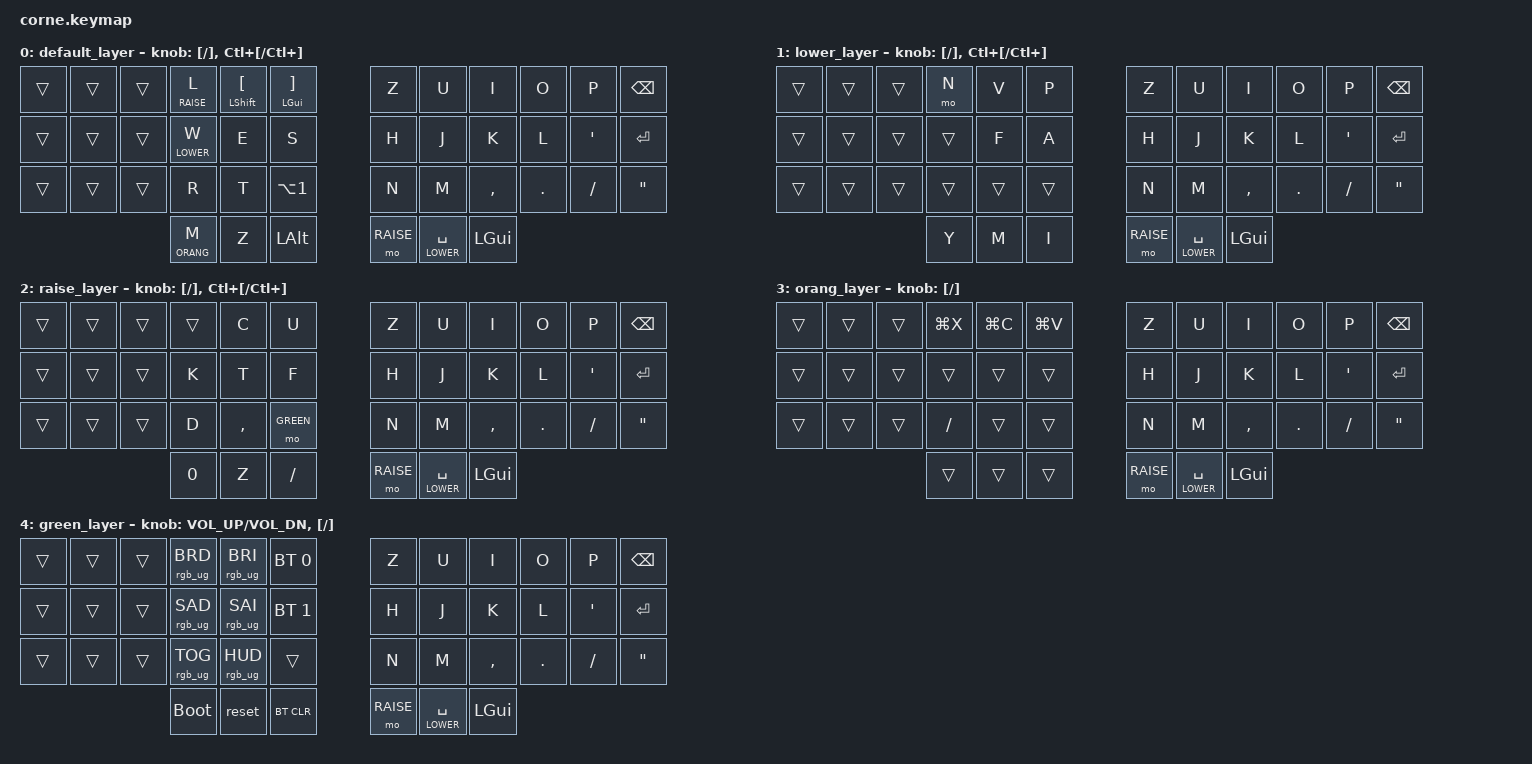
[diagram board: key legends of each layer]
#include <behaviors.dtsi>
#include <dt-bindings/zmk/keys.h>
#include <dt-bindings/zmk/bt.h>
#include <dt-bindings/zmk/rgb.h>
#include <dt-bindings/zmk/ext_power.h>


#define DEFAULT 0
#define LOWER   1
#define RAISE   2
#define ORANG   3
#define GREEN   4

&left_encoder { resolution = <2>; };
&left1_encoder { resolution = <4>; };
// &right_encoder { resolution = <1>; };

&mt {
    tapping-term-ms = <135>;
};

&lt {
    tapping-term-ms = <135>;
};


/ {
        keymap {
                compatible = "zmk,keymap";

                default_layer {
// -----------------------------------------------------------------------------------------
// |  TAB |  Q  |  W  |  E  |  R  |  T  |   |  Y  |  U   |  I  |  O  |  P  | BKSP |
// | CTRL |  A  |  S  |  D  |  F  |  G  |   |  H  |  J   |  K  |  L  |  ;  |  '   |
// | SHFT |  Z  |  X  |  C  |  V  |  B  |   |  N  |  M   |  ,  |  .  |  /  | SHFT |
//                    | GUI | LWR | SPC |   | ENT | RSE  | ALT |
                        bindings = <
   &trans &trans &trans       &lt RAISE L &mt LSHIFT LBKT &mt LGUI RBKT                           &kp Z &kp U  &kp I    &kp O   &kp P    &kp BKSP
   &trans &trans &trans       &lt LOWER W &kp E    &kp S                                          &kp H &kp J  &kp K    &kp L   &kp APOS &kp RET
   &trans &trans &trans       &kp R       &kp T    &kp LA(N1)                                     &kp N &kp M  &kp CMMA &kp DOT &kp FSLH &kp DQT
                                &lt ORANG M &kp Z &kp LALT                                     &mo RAISE &lt LOWER SPACE &kp LGUI
                        >;
                        sensor-bindings = <&inc_dec_kp LBKT RBKT &inc_dec_kp LC(LBKT) LC(RBKT)>;
                };
                lower_layer {
// -----------------------------------------------------------------------------------------
// |  ESC |  1  |  2  |  3  |  4  |  5  |   |  6  |  7  |  8  |  9  |  0  | BKSP |
// | BTCLR| BT1 | BT2 | BT3 | BT4 | BT5 |   | LFT | DWN |  UP | RGT |     |      |
// | SHFT |     |     |     |     |     |   |     |     |     |     |     |      |
//                    | GUI |     | SPC |   | ENT |     | ALT |
                        bindings = <
   &trans &trans &trans     &mo N  &kp V  &kp P                  &kp Z &kp U  &kp I    &kp O   &kp P    &kp BKSP
   &trans &trans &trans     &trans  &kp F  &kp A                 &kp H &kp J  &kp K    &kp L   &kp APOS &kp RET
   &trans &trans &trans     &trans &trans &trans                            &kp N &kp M  &kp CMMA &kp DOT &kp FSLH &kp DQT
                            &kp Y &kp M &kp I                       &mo RAISE &lt LOWER SPACE &kp LGUI
                        >;
                        sensor-bindings = <&inc_dec_kp LBKT RBKT &inc_dec_kp LC(LBKT) LC(RBKT)>;
                };
                raise_layer {
// -----------------------------------------------------------------------------------------
// |  ESC |  !  |  @  |  #  |  $  |  %  |   |  ^  |  &  |  *  |  (  |  )  | BKSP |
// | CTRL |     |     |     |     |     |   |  -  |  =  |  {  |  }  | "|" |  `   |
// | SHFT |     |     |     |     |     |   |  _  |  +  |  [  |  ]  |  \  |  ~   | // TODO: Fix this row when &mkp is committed
//                    | GUI |     | SPC |   | ENT |     | ALT |
                        bindings = <
   &trans &trans &trans     &trans &kp C  &kp U                  &kp Z &kp U  &kp I    &kp O   &kp P    &kp BKSP
   &trans &trans &trans     &kp K  &kp T &kp F                 &kp H &kp J  &kp K    &kp L   &kp APOS &kp RET
   &trans &trans &trans     &kp D  &kp COMMA &mo GREEN                            &kp N &kp M  &kp CMMA &kp DOT &kp FSLH &kp DQT
                                &kp N0 &kp Z &kp SLASH                      &mo RAISE &lt LOWER SPACE &kp LGUI
                        >;
                        sensor-bindings = <&inc_dec_kp LBKT RBKT &inc_dec_kp LC(LBKT) LC(RBKT)>;
                };
                orang_layer {
// -----------------------------------------------------------------------------------------
// |  ESC |  !  |  @  |  #  |  $  |  %  |   |  ^  |  &  |  *  |  (  |  )  | BKSP |
// | CTRL |     |     |     |     |     |   |  -  |  =  |  {  |  }  | "|" |  `   |
// | SHFT |     |     |     |     |     |   |  _  |  +  |  [  |  ]  |  \  |  ~   | // TODO: Fix this row when &mkp is committed
//                    | GUI |     | SPC |   | ENT |     | ALT |
                        bindings = <
   &trans &trans &trans     &kp LG(X) &kp LG(C) &kp LG(V)                   &kp Z &kp U  &kp I    &kp O   &kp P    &kp BKSP
   &trans &trans &trans     &trans    &trans    &trans                  &kp H &kp J  &kp K    &kp L   &kp APOS &kp RET
   &trans &trans &trans     &kp SLASH &trans    &trans                            &kp N &kp M  &kp CMMA &kp DOT &kp FSLH &kp DQT
                                      &trans &trans &trans                      &mo RAISE &lt LOWER SPACE &kp LGUI
                        >;
                        sensor-bindings = <&inc_dec_kp LBKT RBKT>;
                };
                green_layer {
// -----------------------------------------------------------------------------------------
// |  ESC |  !  |  @  |  #  |  $  |  %  |   |  ^  |  &  |  *  |  (  |  )  | BKSP |
// | CTRL |     |     |     |     |     |   |  -  |  =  |  {  |  }  | "|" |  `   |
// | SHFT |     |     |     |     |     |   |  _  |  +  |  [  |  ]  |  \  |  ~   | // TODO: Fix this row when &mkp is committed
//                    | GUI |     | SPC |   | ENT |     | ALT |
                        bindings = <
   &trans &trans &trans     &rgb_ug RGB_BRD &rgb_ug RGB_BRI &bt BT_SEL 0                  &kp Z &kp U  &kp I    &kp O   &kp P    &kp BKSP
   &trans &trans &trans     &rgb_ug RGB_SAD    &rgb_ug RGB_SAI  &bt BT_SEL 1                  &kp H &kp J  &kp K    &kp L   &kp APOS &kp RET
   &trans &trans &trans     &rgb_ug RGB_TOG  &rgb_ug RGB_HUD  &trans                            &kp N &kp M  &kp CMMA &kp DOT &kp FSLH &kp DQT
                                      &bootloader &reset &bt BT_CLR                      &mo RAISE &lt LOWER SPACE &kp LGUI
                        >;
                        sensor-bindings = <&inc_dec_kp C_VOL_UP C_VOL_DN &inc_dec_kp LBKT RBKT>;
                };
        };
};


